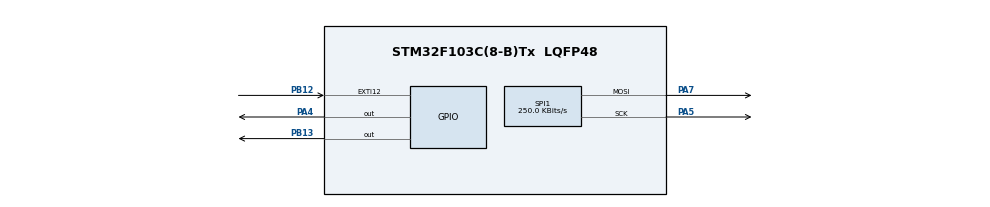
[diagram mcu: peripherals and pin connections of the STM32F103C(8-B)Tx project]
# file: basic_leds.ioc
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Mcu.Family=STM32F1
PA7.Mode=TX_Only_Simplex_Unidirect_Master
SPI1.VirtualType=VM_MASTER
PB13.Signal=GPIO_Output
ProjectManager.StackSize=0x400
PA13.Signal=SYS_JTMS-SWDIO
PA4.PinState=GPIO_PIN_SET
ProjectManager.TargetToolchain=Makefile
SPI1.Direction=SPI_DIRECTION_2LINES
SPI1.CalculateBaudRate=250.0 KBits/s
NVIC.EXTI15_10_IRQn=true\:0\:0\:false\:false\:true\:true\:true
PA5.Signal=SPI1_SCK
PA4.GPIO_PuPd=GPIO_PULLUP
board=custom
PA4.GPIO_Speed=GPIO_SPEED_FREQ_HIGH
PB13.GPIO_PuPd=GPIO_PULLUP
NVIC.SPI1_IRQn=true\:0\:0\:false\:false\:true\:true\:true
RCC.APB2Freq_Value=8000000
SPI1.CRCCalculation=SPI_CRCCALCULATION_DISABLE
PB13.PinState=GPIO_PIN_SET
VP_TIM2_VS_ClockSourceINT.Mode=Internal
SPI1.Mode=SPI_MODE_MASTER
PA14.Mode=Serial_Wire
NVIC.TIM2_IRQn=true\:0\:0\:false\:false\:true\:true\:true
TIM2.Period=10000-1
PA13.Mode=Serial_Wire
Mcu.Name=STM32F103C(8-B)Tx
PA4.Signal=GPIO_Output
Mcu.Package=LQFP48
TIM2.Prescaler=800-1
PA14.Signal=SYS_JTCK-SWCLK
ProjectManager.HeapSize=0x200
PB12.GPIO_ModeDefaultEXTI=GPIO_MODE_IT_RISING
NVIC.PriorityGroup=NVIC_PRIORITYGROUP_4
TIM2.AutoReloadPreload=TIM_AUTORELOAD_PRELOAD_DISABLE
PB12.GPIO_PuPd=GPIO_PULLDOWN
RCC.APB1Freq_Value=8000000
SPI1.BaudRatePrescaler=SPI_BAUDRATEPRESCALER_32
PB12.Signal=GPXTI12
PA5.Mode=TX_Only_Simplex_Unidirect_Master
PA7.Signal=SPI1_MOSI

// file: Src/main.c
/* USER CODE BEGIN Header */
/**
  ******************************************************************************
  * @file           : main.c
  * @brief          : Main program body
  ******************************************************************************
  * @attention
  *
  * <h2><center>&copy; Copyright (c) 2020 STMicroelectronics.
  * All rights reserved.</center></h2>
  *
  * This software component is licensed by ST under BSD 3-Clause license,
  * the "License"; You may not use this file except in compliance with the
  * License. You may obtain a copy of the License at:
  *                        opensource.org/licenses/BSD-3-Clause
  *
  ******************************************************************************
  */
/* USER CODE END Header */

#include "main.h"

SPI_HandleTypeDef hspi1;

TIM_HandleTypeDef htim2;

/* USER CODE BEGIN PV */
volatile char spi_data[] = "Hello SPI!\n";
volatile uint8_t seconds_elapsed = 0;
/* USER CODE END PV */

void SystemClock_Config(void);
static void MX_GPIO_Init(void);
static void MX_TIM2_Init(void);
static void MX_SPI1_Init(void);

int main(void)
{
  /* USER CODE BEGIN 1 */
  uint8_t transmit_led_state = 0;
  /* USER CODE END 1 */

  /* MCU Configuration--------------------------------------------------------*/

  /* Reset of all peripherals, Initializes the Flash interface and the Systick. */
  HAL_Init();

  /* Configure the system clock */
  SystemClock_Config();

  /* Initialize all configured peripherals */
  MX_GPIO_Init();
  MX_TIM2_Init();
  MX_SPI1_Init();
  /* USER CODE BEGIN 2 */
  HAL_TIM_Base_Start_IT(&htim2);
  /* USER CODE END 2 */

  /* Infinite loop */
  while (1)
  {

    /* USER CODE BEGIN 3 */
    if (seconds_elapsed >= 3) {
      // Toggle led every spi transmission
      HAL_GPIO_WritePin(GPIOB, GPIO_PIN_13, transmit_led_state ? GPIO_PIN_SET : GPIO_PIN_RESET);
      transmit_led_state ^= 0x1;

      // manually driving NSS with SW GPIO
      HAL_GPIO_WritePin(GPIOA, GPIO_PIN_4, GPIO_PIN_RESET);
      HAL_SPI_Transmit_IT(&hspi1, (uint8_t *)spi_data, sizeof(spi_data));

      // The STM32 pulls the NSS high too quickly after transmission for the arduino to process anything
      // more than a few bytes. This is a super hacky way to mitigate this (and won't work for even
      // longer strings transmitted) but gets the job done for the example.
      volatile int i;
      for (i = 0; i < 1000; i++) {
        __NOP();
      }
      HAL_GPIO_WritePin(GPIOA, GPIO_PIN_4, GPIO_PIN_SET);
      seconds_elapsed = 0;
    }
  }
  /* USER CODE END 3 */
}

void SystemClock_Config(void)
{
  RCC_OscInitTypeDef RCC_OscInitStruct = {0};
  RCC_ClkInitTypeDef RCC_ClkInitStruct = {0};

  /** Initializes the CPU, AHB and APB busses clocks
  */
  RCC_OscInitStruct.OscillatorType = RCC_OSCILLATORTYPE_HSI;
  RCC_OscInitStruct.HSIState = RCC_HSI_ON;
  RCC_OscInitStruct.HSICalibrationValue = RCC_HSICALIBRATION_DEFAULT;
  RCC_OscInitStruct.PLL.PLLState = RCC_PLL_NONE;
  if (HAL_RCC_OscConfig(&RCC_OscInitStruct) != HAL_OK)
  {
    Error_Handler();
  }
  /** Initializes the CPU, AHB and APB busses clocks
  */
  RCC_ClkInitStruct.ClockType = RCC_CLOCKTYPE_HCLK|RCC_CLOCKTYPE_SYSCLK
                              |RCC_CLOCKTYPE_PCLK1|RCC_CLOCKTYPE_PCLK2;
  RCC_ClkInitStruct.SYSCLKSource = RCC_SYSCLKSOURCE_HSI;
  RCC_ClkInitStruct.AHBCLKDivider = RCC_SYSCLK_DIV1;
  RCC_ClkInitStruct.APB1CLKDivider = RCC_HCLK_DIV1;
  RCC_ClkInitStruct.APB2CLKDivider = RCC_HCLK_DIV1;

  if (HAL_RCC_ClockConfig(&RCC_ClkInitStruct, FLASH_LATENCY_0) != HAL_OK)
  {
    Error_Handler();
  }
}

static void MX_SPI1_Init(void)
{

  /* SPI1 parameter configuration*/
  hspi1.Instance = SPI1;
  hspi1.Init.Mode = SPI_MODE_MASTER;
  hspi1.Init.Direction = SPI_DIRECTION_2LINES;
  hspi1.Init.DataSize = SPI_DATASIZE_8BIT;
  hspi1.Init.CLKPolarity = SPI_POLARITY_LOW;
  hspi1.Init.CLKPhase = SPI_PHASE_1EDGE;
  hspi1.Init.NSS = SPI_NSS_SOFT;
  hspi1.Init.BaudRatePrescaler = SPI_BAUDRATEPRESCALER_32;
  hspi1.Init.FirstBit = SPI_FIRSTBIT_MSB;
  hspi1.Init.TIMode = SPI_TIMODE_DISABLE;
  hspi1.Init.CRCCalculation = SPI_CRCCALCULATION_DISABLE;
  hspi1.Init.CRCPolynomial = 10;
  if (HAL_SPI_Init(&hspi1) != HAL_OK)
  {
    Error_Handler();
  }

}

static void MX_TIM2_Init(void)
{

  TIM_ClockConfigTypeDef sClockSourceConfig = {0};
  TIM_MasterConfigTypeDef sMasterConfig = {0};

  htim2.Instance = TIM2;
  htim2.Init.Prescaler = 800-1;
  htim2.Init.CounterMode = TIM_COUNTERMODE_UP;
  htim2.Init.Period = 10000-1;
  htim2.Init.ClockDivision = TIM_CLOCKDIVISION_DIV1;
  htim2.Init.AutoReloadPreload = TIM_AUTORELOAD_PRELOAD_DISABLE;
  if (HAL_TIM_Base_Init(&htim2) != HAL_OK)
  {
    Error_Handler();
  }
  sClockSourceConfig.ClockSource = TIM_CLOCKSOURCE_INTERNAL;
  if (HAL_TIM_ConfigClockSource(&htim2, &sClockSourceConfig) != HAL_OK)
  {
    Error_Handler();
  }
  sMasterConfig.MasterOutputTrigger = TIM_TRGO_RESET;
  sMasterConfig.MasterSlaveMode = TIM_MASTERSLAVEMODE_DISABLE;
  if (HAL_TIMEx_MasterConfigSynchronization(&htim2, &sMasterConfig) != HAL_OK)
  {
    Error_Handler();
  }

}

static void MX_GPIO_Init(void)
{
  GPIO_InitTypeDef GPIO_InitStruct = {0};

  /* GPIO Ports Clock Enable */
  __HAL_RCC_GPIOA_CLK_ENABLE();
  __HAL_RCC_GPIOB_CLK_ENABLE();

  /*Configure GPIO pin Output Level */
  HAL_GPIO_WritePin(GPIOA, GPIO_PIN_4, GPIO_PIN_SET);

  /*Configure GPIO pin Output Level */
  HAL_GPIO_WritePin(GPIOB, GPIO_PIN_13, GPIO_PIN_SET);

  /*Configure GPIO pin : PA4 */
  GPIO_InitStruct.Pin = GPIO_PIN_4;
  GPIO_InitStruct.Mode = GPIO_MODE_OUTPUT_PP;
  GPIO_InitStruct.Pull = GPIO_PULLUP;
  GPIO_InitStruct.Speed = GPIO_SPEED_FREQ_HIGH;
  HAL_GPIO_Init(GPIOA, &GPIO_InitStruct);

  /*Configure GPIO pin : PB12 */
  GPIO_InitStruct.Pin = GPIO_PIN_12;
  GPIO_InitStruct.Mode = GPIO_MODE_IT_RISING;
  GPIO_InitStruct.Pull = GPIO_PULLDOWN;
  HAL_GPIO_Init(GPIOB, &GPIO_InitStruct);

  /*Configure GPIO pin : PB13 */
  GPIO_InitStruct.Pin = GPIO_PIN_13;
  GPIO_InitStruct.Mode = GPIO_MODE_OUTPUT_PP;
  GPIO_InitStruct.Pull = GPIO_PULLUP;
  GPIO_InitStruct.Speed = GPIO_SPEED_FREQ_LOW;
  HAL_GPIO_Init(GPIOB, &GPIO_InitStruct);

  /* EXTI interrupt init*/
  HAL_NVIC_SetPriority(EXTI15_10_IRQn, 0, 0);
  HAL_NVIC_EnableIRQ(EXTI15_10_IRQn);

}

/* USER CODE BEGIN 4 */
void HAL_GPIO_EXTI_Callback(uint16_t pin) {
  // If we press our button input toggle our p13 output
  // (this input not included in SPI example setup)
  switch (pin) {
  case GPIO_PIN_12:
    HAL_GPIO_TogglePin(GPIOB, GPIO_PIN_13);
    break;
  }
}

void HAL_TIM_PeriodElapsedCallback(TIM_HandleTypeDef *htim) {
  if (htim->Instance == htim2.Instance) {
    seconds_elapsed += 1;
  }
}
/* USER CODE END 4 */

void Error_Handler(void)
{
}

/************************ (C) COPYRIGHT STMicroelectronics *****END OF FILE****/
